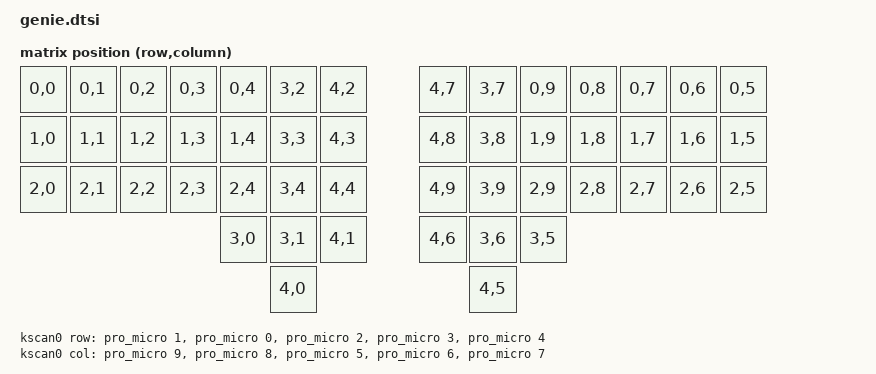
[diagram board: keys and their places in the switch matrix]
#include "genie-layouts.dtsi"
#include <dt-bindings/zmk/matrix_transform.h>
/ {
    chosen {
        zmk,physical-layout = &physical_layout_0;
    };
};

/ {
	chosen {
		zmk,kscan = &kscan0;
		zmk,matrix-transform = &default_transform;
	};

	default_transform: keymap_transform_0 {
		compatible = "zmk,matrix-transform";
		columns = <5>;
		rows = <5>;
		map = <
                //L1   | L2     | L3    | L4    
                RC(0,0) RC(0,1) RC(0,2) RC(0,3) RC(0,4) RC(3,2) RC(4,2)         RC(4,7) RC(3,7) RC(0,9) RC(0,8) RC(0,7) RC(0,6) RC(0,5)
                RC(1,0) RC(1,1) RC(1,2) RC(1,3) RC(1,4) RC(3,3) RC(4,3)         RC(4,8) RC(3,8) RC(1,9) RC(1,8) RC(1,7) RC(1,6) RC(1,5)
                RC(2,0) RC(2,1) RC(2,2) RC(2,3) RC(2,4) RC(3,4) RC(4,4)         RC(4,9) RC(3,9) RC(2,9) RC(2,8) RC(2,7) RC(2,6) RC(2,5)
                                                RC(3,0) RC(3,1) RC(4,1)         RC(4,6) RC(3,6) RC(3,5)
                                                        RC(4,0)                         RC(4,5)
        // RC(row,column)      
        // this is the numbering in the bracket

		>;
	};

	kscan0: kscan {
		compatible = "zmk,kscan-gpio-matrix";
		diode-direction = "col2row";   // i replaced the col2row with row2col and boy did my laptop went haywire 🤣🤣🤣🤣 
		row-gpios                       // it started pressing all the keys and like my laptop keyboard
                                        // was not functioning properly for a while

			= <&pro_micro 1 (GPIO_ACTIVE_HIGH | GPIO_PULL_DOWN)> // row 0
            , <&pro_micro 0 (GPIO_ACTIVE_HIGH | GPIO_PULL_DOWN)> // row 1
            , <&pro_micro 2 (GPIO_ACTIVE_HIGH | GPIO_PULL_DOWN)> // row 2
			, <&pro_micro 3 (GPIO_ACTIVE_HIGH | GPIO_PULL_DOWN)> // row 3
			, <&pro_micro 4 (GPIO_ACTIVE_HIGH | GPIO_PULL_DOWN)> // row 4
			;


		col-gpios
			= <&pro_micro 9 GPIO_ACTIVE_HIGH> // column 0
            , <&pro_micro 8 GPIO_ACTIVE_HIGH> // column 1
            , <&pro_micro 5 GPIO_ACTIVE_HIGH> // column 2
			, <&pro_micro 6 GPIO_ACTIVE_HIGH> // column 3
			, <&pro_micro 7 GPIO_ACTIVE_HIGH> // column 4
			
			
			;
	};
};


&physical_layout_0 {
    kscan = <&kscan0>; // Label of the kscan node this layout uses
    transform = <&default_transform>; // Label of the matrix transform this layout uses
};


//&pro_micro_i2c {
//	status = "disabled";
//};
//
/// {
//	chosen {
//		zmk,underglow = &led_strip;
//	};
//};
//
//&pro_micro_spi {
//	status = "disabled";
//};
//
//&pinctrl {
//	// not needed for GPIO bit-bang driver, safe to omit
//};
//
//led_strip: ws2812 {
//	compatible = "worldsemi,ws2812-gpio";
//	status = "okay";
//	gpio-controller;
//	chain-length = <25>; /* total LEDs per half — update if not all 25 populated */
//	color-mapping = <LED_COLOR_ID_GREEN LED_COLOR_ID_RED LED_COLOR_ID_BLUE>;
//	gpios = <&pro_micro 21 GPIO_ACTIVE_HIGH>;
//};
